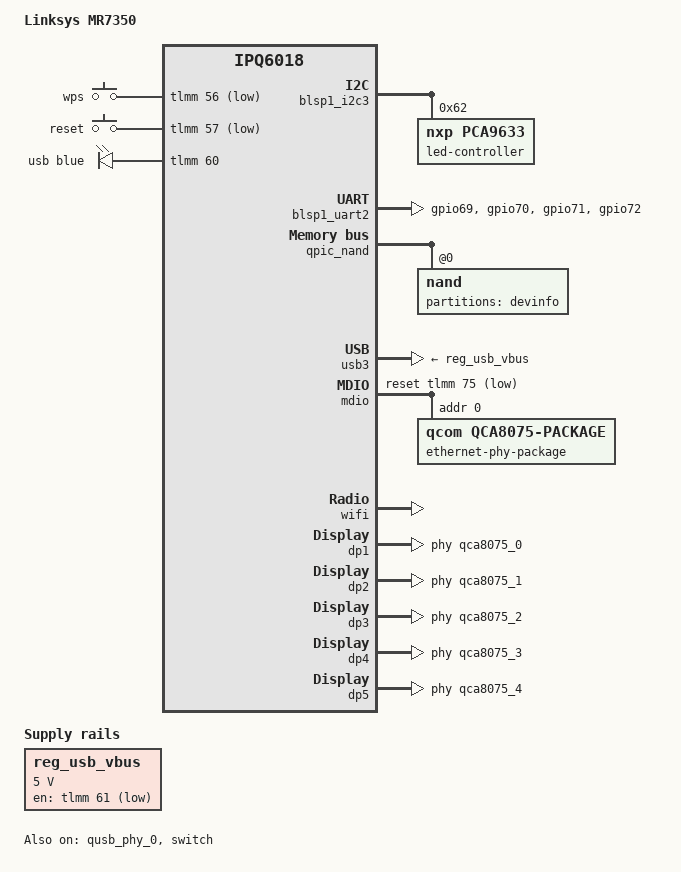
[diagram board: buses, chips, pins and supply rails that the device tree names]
// SPDX-License-Identifier: GPL-2.0-or-later OR MIT

/dts-v1/;

#include "ipq6018.dtsi"
#include "ipq6018-ess.dtsi"
#include "ipq6018-nss.dtsi"
#include "ipq6018-common.dtsi"
#include "ipq6018-cp-cpu.dtsi"

#include <dt-bindings/gpio/gpio.h>
#include <dt-bindings/input/input.h>
#include <dt-bindings/leds/common.h>

/ {
	model = "Linksys MR7350";
	compatible = "linksys,mr7350", "qcom,ipq6018";

	aliases {
		serial0 = &blsp1_uart3;
		serial1 = &blsp1_uart2;

		led-boot = &led_system_blue;
		led-running = &led_system_blue;
		led-failsafe = &led_system_red;
		led-upgrade = &led_system_green;
	};

	chosen {
		stdout-path = "serial0:115200n8";
		bootargs-append = " root=/dev/ubiblock0_0";
	};

	keys {
		compatible = "gpio-keys";

		wps-button {
			label = "wps";
			linux,code = <KEY_WPS_BUTTON>;
			gpios = <&tlmm 56 GPIO_ACTIVE_LOW>;
		};

		reset-button {
			label = "reset";
			linux,code = <KEY_RESTART>;
			gpios = <&tlmm 57 GPIO_ACTIVE_LOW>;
		};
	};

	leds {
		compatible = "gpio-leds";

		usb {
			color = <LED_COLOR_ID_BLUE>;
			function = LED_FUNCTION_USB;
			gpios = <&tlmm 60 GPIO_ACTIVE_HIGH>;
			trigger-sources = <&usb3_port1>, <&usb3_port2>;
			linux,default-trigger = "usbport";
		};
	};

	reg_usb_vbus: regulator-usb-vbus {
		compatible = "regulator-fixed";
		regulator-name = "usb_vbus";
		regulator-min-microvolt = <5000000>;
		regulator-max-microvolt = <5000000>;
		gpios = <&tlmm 61 GPIO_ACTIVE_LOW>;
		regulator-boot-on;
	};
};

&tlmm {
	hsuart_pins: hsuart-pins {
		pins = "gpio69", "gpio70", "gpio71", "gpio72";
		function = "blsp1_uart";
		drive-strength = <8>;
		bias-disable;
	};
};

&blsp1_i2c3 {
	status = "okay";

	led-controller@62 {
		compatible = "nxp,pca9633";
		#address-cells = <1>;
		#size-cells = <0>;
		reg = <0x62>;

		led_system_red: system-red {
			reg = <0>;
			color = <LED_COLOR_ID_RED>;
			function = LED_FUNCTION_STATUS;
		};

		led_system_green: system-green {
			reg = <1>;
			color = <LED_COLOR_ID_GREEN>;
			function = LED_FUNCTION_STATUS;
		};

		led_system_blue: system-blue {
			reg = <2>;
			color = <LED_COLOR_ID_BLUE>;
			function = LED_FUNCTION_STATUS;
		};
	};
};

&blsp1_uart2 {
	pinctrl-0 = <&hsuart_pins>;
	pinctrl-names = "default";
	status = "okay";
};

&dwc_0 {
	#address-cells = <1>;
	#size-cells = <0>;

	usb3_port1: port@1 {
		reg = <1>;
		#trigger-source-cells = <0>;
	};

	usb3_port2: port@2 {
		reg = <2>;
		#trigger-source-cells = <0>;
	};
};

&qpic_nand {
	status = "okay";

	nand@0 {
		reg = <0>;

		nand-ecc-strength = <4>;
		nand-ecc-step-size = <512>;
		nand-bus-width = <8>;

		partitions {
			compatible = "qcom,smem-part";
			#address-cells = <1>;
			#size-cells = <1>;

			partition-0-devinfo {
				#address-cells = <1>;
				#size-cells = <1>;

				label = "devinfo";
				read-only;

				nvmem-layout {
					compatible = "ascii-eq-delim-env";
					#address-cells = <1>;
					#size-cells = <1>;

					hw_mac_addr: hw_mac_addr {
						compatible = "mac-base";
						#nvmem-cell-cells = <1>;
					};
				};
			};
		};
	};
};

&qusb_phy_0 {
	status = "okay";
	vdd-supply = <&reg_usb_vbus>;
};

&usb3 {
	status = "okay";
	vbus-supply = <&reg_usb_vbus>;
};

&mdio {
	status = "okay";

	pinctrl-0 = <&mdio_pins>;
	pinctrl-names = "default";
	reset-gpios = <&tlmm 75 GPIO_ACTIVE_LOW>;

	ethernet-phy-package@0 {
		compatible = "qcom,qca8075-package";
		#address-cells = <1>;
		#size-cells = <0>;
		reg = <0>;

		qca8075_0: ethernet-phy@0 {
			compatible = "ethernet-phy-ieee802.3-c22";
			reg = <0>;
		};

		qca8075_1: ethernet-phy@1 {
			compatible = "ethernet-phy-ieee802.3-c22";
			reg = <1>;
		};

		qca8075_2: ethernet-phy@2 {
			compatible = "ethernet-phy-ieee802.3-c22";
			reg = <2>;
		};

		qca8075_3: ethernet-phy@3 {
			compatible = "ethernet-phy-ieee802.3-c22";
			reg = <3>;
		};

		qca8075_4: ethernet-phy@4 {
			compatible = "ethernet-phy-ieee802.3-c22";
			reg = <4>;
		};
	};
};

&switch {
	status = "okay";

	switch_lan_bmp = <(ESS_PORT1 | ESS_PORT2 | ESS_PORT3 | ESS_PORT4)>;
	switch_wan_bmp = <ESS_PORT5>;
	switch_mac_mode = <MAC_MODE_PSGMII>;

	qcom,port_phyinfo {
		port@1 {
			port_id = <1>;
			phy_address = <0>;
		};

		port@2 {
			port_id = <2>;
			phy_address = <1>;
		};

		port@3 {
			port_id = <3>;
			phy_address = <2>;
		};

		port@4 {
			port_id = <4>;
			phy_address = <3>;
		};

		port@5 {
			port_id = <5>;
			phy_address = <4>;
		};
	};
};

&wifi {
	status = "okay";
	qcom,ath11k-fw-memory-mode = <1>;
	qcom,ath11k-calibration-variant = "Linksys-MR7350";
};

&dp1 {
	status = "okay";
	phy-handle = <&qca8075_0>;
	label = "lan1";
	nvmem-cells = <&hw_mac_addr 1>;
	nvmem-cell-names = "mac-address";
};

&dp2 {
	status = "okay";
	phy-handle = <&qca8075_1>;
	label = "lan2";
	nvmem-cells = <&hw_mac_addr 1>;
	nvmem-cell-names = "mac-address";
};

&dp3 {
	status = "okay";
	phy-handle = <&qca8075_2>;
	label = "lan3";
	nvmem-cells = <&hw_mac_addr 1>;
	nvmem-cell-names = "mac-address";
};

&dp4 {
	status = "okay";
	phy-handle = <&qca8075_3>;
	label = "lan4";
	nvmem-cells = <&hw_mac_addr 1>;
	nvmem-cell-names = "mac-address";
};

&dp5 {
	status = "okay";
	phy-handle = <&qca8075_4>;
	label = "wan";
	nvmem-cells = <&hw_mac_addr 0>;
	nvmem-cell-names = "mac-address";
};

&edma {
	status = "okay";
};
